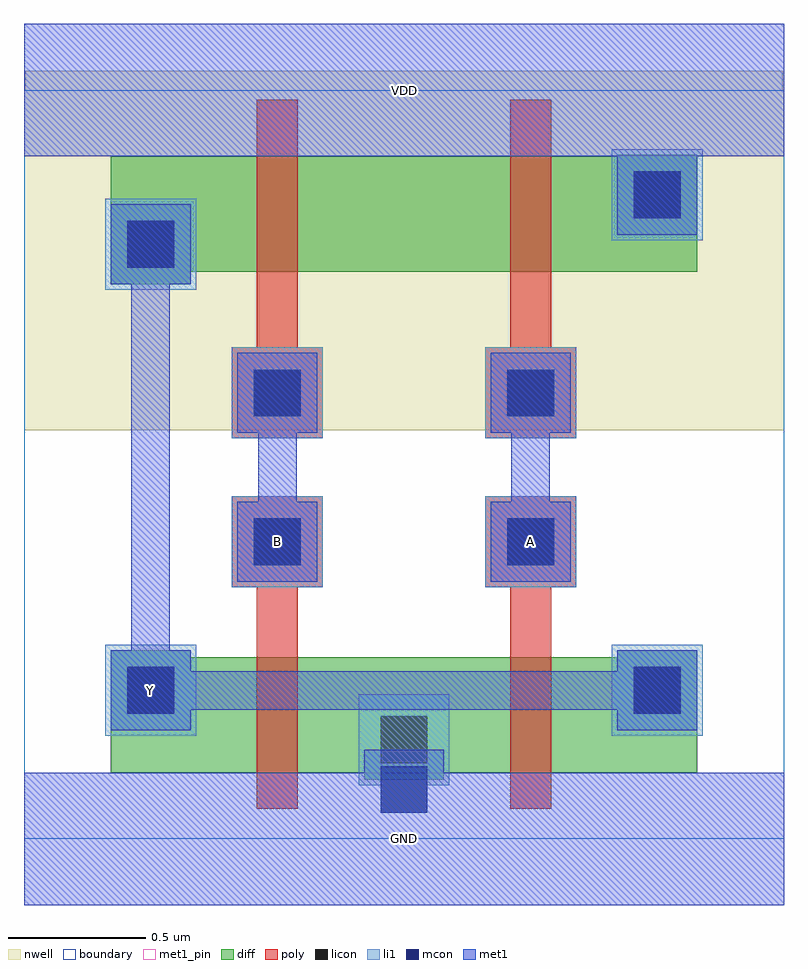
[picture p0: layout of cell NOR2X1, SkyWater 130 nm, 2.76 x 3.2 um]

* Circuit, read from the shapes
.subckt NOR2X1 A B GND VDD Y
XM1 GND B Y VSUBS sky130_fd_pr__nfet_01v8 w=0.42 l=0.15
XM2 Y A GND VSUBS sky130_fd_pr__nfet_01v8 w=0.42 l=0.15
XM3 n1 B Y n2 sky130_fd_pr__pfet_01v8 w=0.42 l=0.15
XM4 VDD A n1 n2 sky130_fd_pr__pfet_01v8 w=0.42 l=0.15
.ends

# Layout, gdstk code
import gdstk
lib = gdstk.Library(unit=1e-6, precision=1e-09)
def R(c, l, rs):  # rectangles x0, y0, x1, y1
    for r in rs: c.add(gdstk.rectangle(r[:2], r[2:], *l))
def P(c, l, *ps):  # polygons
    for p in ps: c.add(gdstk.Polygon(p, *l))
nwell = (64, 20)
diff = (65, 20)
poly = (66, 20)
licon = (66, 44)
li1 = (67, 20)
mcon = (67, 44)
met1_pin = (68, 16)
met1 = (68, 20)
boundary = (235, 4)

nor2x1 = lib.new_cell('NOR2X1')
P(nor2x1, nwell, [(0,1.485),(0,2.72),(0.005,2.72),(0.005,2.79),(2.755,2.79),(2.755,2.72),(2.76,2.72),(2.76,1.485)])
P(nor2x1, diff, [(1.235,0.215),(1.235,0.24),(0.315,0.24),(0.315,0.685),(0.605,0.685),(0.605,0.66),(2.155,0.66),(2.155,0.685),(2.445,0.685),(2.445,0.24),(1.525,0.24),(1.525,0.215)],
  [(0.315,2.015),(0.315,2.48),(2.155,2.48),(2.155,2.485),(2.445,2.485),(2.445,2.06),(0.605,2.06),(0.605,2.015)])
P(nor2x1, poly, [(0.845,0.11),(0.845,0.915),(0.755,0.915),(0.755,1.245),(1.085,1.245),(1.085,0.915),(0.995,0.915),(0.995,0.11)],
  [(1.765,0.11),(1.765,0.915),(1.675,0.915),(1.675,1.245),(2.005,1.245),(2.005,0.915),(1.915,0.915),(1.915,0.11)],
  [(0.755,1.455),(0.755,1.785),(0.845,1.785),(0.845,2.685),(0.995,2.685),(0.995,1.785),(1.085,1.785),(1.085,1.455)],
  [(1.675,1.455),(1.675,1.785),(1.765,1.785),(1.765,2.685),(1.915,2.685),(1.915,1.785),(2.005,1.785),(2.005,1.455)])
R(nor2x1, licon, [(1.295,0.275,1.465,0.445), (0.375,0.455,0.545,0.625), (2.215,0.455,2.385,0.625), (0.835,0.995,1.005,1.165), (1.755,0.995,1.925,1.165), (0.835,1.535,1.005,1.705), (1.755,1.535,1.925,1.705), (0.375,2.075,0.545,2.245), (2.215,2.255,2.385,2.425)])
R(nor2x1, li1, [(0.295,0.375,0.625,0.705), (2.135,0.375,2.465,0.705), (0.755,0.915,1.085,1.245), (1.675,0.915,2.005,1.245), (0.755,1.455,1.085,1.785), (1.675,1.455,2.005,1.785), (0.295,1.995,0.625,2.325), (2.135,2.175,2.465,2.505)])
P(nor2x1, li1, [(1.295,0.095),(1.295,0.195),(1.215,0.195),(1.215,0.525),(1.545,0.525),(1.545,0.195),(1.465,0.195),(1.465,0.095)])
R(nor2x1, mcon, [(1.295,0.095,1.465,0.265), (0.375,0.455,0.545,0.625), (2.215,0.455,2.385,0.625), (0.835,0.995,1.005,1.165), (1.755,0.995,1.925,1.165), (0.835,1.535,1.005,1.705), (1.755,1.535,1.925,1.705), (0.375,2.075,0.545,2.245), (2.215,2.255,2.385,2.425)])
R(nor2x1, met1_pin, [(0,-0.24,2.76,0.24), (0,2.48,2.76,2.96)])
P(nor2x1, met1_pin, [(0.315,0.395),(0.315,0.685),(0.39,0.685),(0.39,2.015),(0.315,2.015),(0.315,2.305),(0.605,2.305),(0.605,2.015),(0.53,2.015),(0.53,0.685),(0.605,0.685),(0.605,0.61),(2.155,0.61),(2.155,0.685),(2.445,0.685),(2.445,0.395),(2.155,0.395),(2.155,0.47),(0.605,0.47),(0.605,0.395)],
  [(0.775,0.935),(0.775,1.225),(0.85,1.225),(0.85,1.475),(0.775,1.475),(0.775,1.765),(1.065,1.765),(1.065,1.475),(0.99,1.475),(0.99,1.225),(1.065,1.225),(1.065,0.935)],
  [(1.695,0.935),(1.695,1.225),(1.77,1.225),(1.77,1.475),(1.695,1.475),(1.695,1.765),(1.985,1.765),(1.985,1.475),(1.91,1.475),(1.91,1.225),(1.985,1.225),(1.985,0.935)])
P(nor2x1, met1, [(0,-0.24),(0,0.24),(1.235,0.24),(1.235,0.325),(1.525,0.325),(1.525,0.24),(2.76,0.24),(2.76,-0.24)],
  [(0.775,0.935),(0.775,1.225),(0.85,1.225),(0.85,1.475),(0.775,1.475),(0.775,1.765),(1.065,1.765),(1.065,1.475),(0.99,1.475),(0.99,1.225),(1.065,1.225),(1.065,0.935)],
  [(1.695,0.935),(1.695,1.225),(1.77,1.225),(1.77,1.475),(1.695,1.475),(1.695,1.765),(1.985,1.765),(1.985,1.475),(1.91,1.475),(1.91,1.225),(1.985,1.225),(1.985,0.935)],
  [(0.315,0.395),(0.315,0.685),(0.39,0.685),(0.39,2.015),(0.315,2.015),(0.315,2.305),(0.605,2.305),(0.605,2.015),(0.53,2.015),(0.53,0.685),(0.605,0.685),(0.605,0.61),(2.155,0.61),(2.155,0.685),(2.445,0.685),(2.445,0.395),(2.155,0.395),(2.155,0.47),(0.605,0.47),(0.605,0.395)],
  [(2.155,2.195),(2.155,2.48),(0,2.48),(0,2.96),(2.76,2.96),(2.76,2.48),(2.445,2.48),(2.445,2.195)])
R(nor2x1, boundary, [(0,0,2.76,2.72)])
nor2x1.add(gdstk.Label('Y', (0.46,0.54), layer=68, texttype=5))
nor2x1.add(gdstk.Label('B', (0.92,1.08), layer=68, texttype=5))
nor2x1.add(gdstk.Label('A', (1.84,1.08), layer=68, texttype=5))
nor2x1.add(gdstk.Label('GND', (1.38,0), layer=68, texttype=5))
nor2x1.add(gdstk.Label('VDD', (1.38,2.72), layer=68, texttype=5))

lib.write_gds('NOR2X1.gds')
